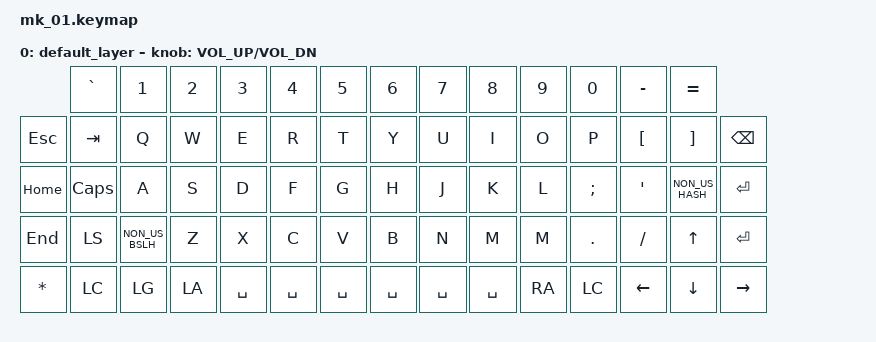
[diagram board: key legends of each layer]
#include <behaviors.dtsi>
#include <dt-bindings/zmk/keys.h>

/ {
    keymap {
        compatible = "zmk,keymap";

        default_layer {
// --------------------------------------------------------------------------------------------------------------------------------------------------------------------
// |      |  `   |  1   |  2   |  3   |  4   |  5   |           |  6   |  7   |  8   |  9   |  0   |  -   |  =   |      |
// | ESC  | Tab  |  Q   |  W   |  E   |  R   |  T   |           |  Y   |  U   |  I   |  O   |  P   |  [   |  ]   | Back |
// | Home | Caps |  A   |  S   |  D   |  F   |  G   |           |  H   |  J   |  K   |  L   |  ;   |  '   |  #   | Enter|
// | End  | Shft |  \   |  Z   |  X   |  C   |  V   |           |  B   |  N   |  M   |  ,   |  .   |  /   |  Up  | Enter|
// | Fn   | Ctrl | GUI  | Alt  | Space| Space| Space|           | Space| Space| Space| AltGr| Ctrl | Left | Down | Right|
            bindings = <
               &kp `     &kp N1             &kp N2    &kp N3    &kp N4     &kp N5                 &kp N6    &kp N7    &kp N8    &kp N9    &kp N0    &kp MINUS   &kp EQUAL
    &kp ESC    &kp TAB   &kp Q              &kp W     &kp E     &kp R      &kp T                  &kp Y     &kp U     &kp I     &kp O     &kp P     &kp LBKT    &kp RBKT        &kp BSPC
    &kp HOME   &kp CAPS  &kp A              &kp S     &kp D     &kp F      &kp G                  &kp H     &kp J     &kp K     &kp L     &kp SEMI  &kp SQT     &kp NON_US_HASH &kp RET
    &kp END    &kp LS    &kp NON_US_BSLH    &kp Z     &kp X     &kp C      &kp V                  &kp B     &kp N     &kp M     &kp M     &kp DOT   &kp FSLH    &kp UP          &kp RET
    &kp  *     &kp LC    &kp LG             &kp LA    &kp SPACE &kp SPACE  &kp SPACE              &kp SPACE &kp SPACE &kp SPACE &kp RA    &kp LC    &kp LEFT    &kp DOWN        &kp RIGHT
            >;

              sensor-bindings = <&inc_dec_kp C_VOL_UP C_VOL_DN>;
        };
    };
};
